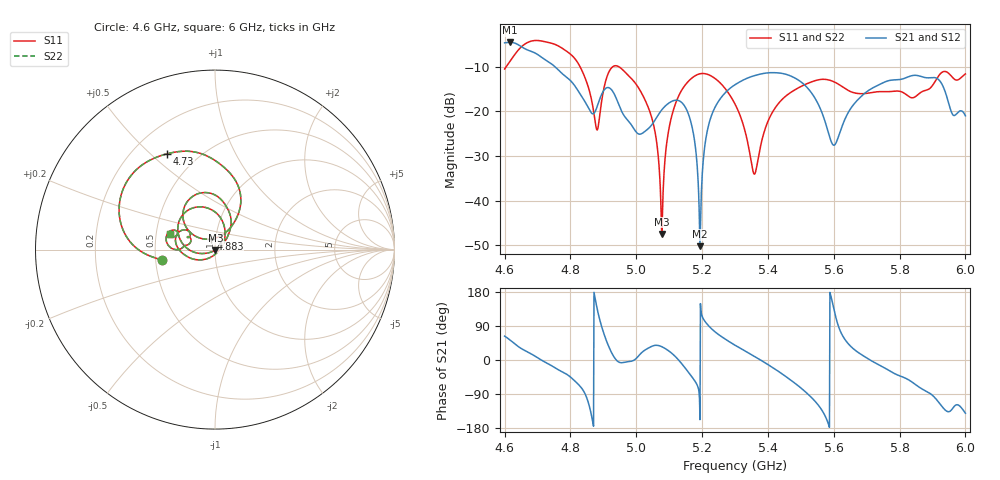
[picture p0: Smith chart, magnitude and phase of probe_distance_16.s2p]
! TOUCHSTONE file generated by CST MICROWAVE STUDIO
! Date and time: Sat Nov 30 13:11:00 2024
! Project name: test_tuning.cst
! Parameters = {airCoaxOuterDiameter=3; chamferAngle=45; chamferWidth=24; connectorLength=10; drillingHoleDiameter=4.1; feedLength=60; flareDiameter=130; flareLength=70; gratingDistance=0; gratingGap=1.90274; outletLength=30; polarizerLength=134; probe1Diameter=1.3; probe1Distance=15.5; probe1Length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
! Header version: 2024
! Port assignment regex: !\s*Touchstone port\s*([0-9]+)\s*=\s*(CST MWS port|CST DES external port|CST DES block port)\s*(.+)\s* \(\"(.*)\"\)(\s*mode\s*([0-9]+))?.*
! Touchstone port assignment:
! Touchstone port 1 = CST MWS port 1 ("Input1")
! Touchstone port 2 = CST MWS port 2 ("Input2")
# GHz S MA R 50
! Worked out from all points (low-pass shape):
!   1001 points, 4.6 GHz to 6 GHz, reference 50 ohm
!   highest |S21| = -4.51 dB at 4.617 GHz (marker M1); lowest = -50.2 dB at 5.194 GHz (marker M2)
!   |S21| within 3 dB of the highest: start of sweep to 4.706 GHz
!   lowest |S11| = -47.5 dB at 5.077 GHz (marker M3), VSWR 1.01, Z = 50.2 - j0.354 ohm
!   |S11| at or under -10 dB: start of sweep to 4.604646 GHz; 4.829 GHz to 4.928 GHz (98.78 MHz wide, 2.02 % of centre); 4.948 GHz to end of sweep
!   |S22| runs from -47.5 to -4.1 dB; largest |S21 - S12| = 7.3e-07
!   S11 on the Smith chart (normalised r, x): 4.6 GHz: 0.54, -0.07; 4.73 GHz: 0.34, +0.57; 4.883 GHz: 0.95, +0.11; 6 GHz: 0.59, +0.11
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4.6  0.2988 -168.6  0.5868 63.1  0.5868 63.1  0.2988 -168.6
4.6168  0.3663 -174.6  0.595 52.6  0.595 52.6  0.3663 -174.6
4.7302  0.5964 116.3  0.3652 -8.8  0.3652 -8.8  0.5964 116.3
4.8338  0.2934 60.8  0.148 -74.1  0.148 -74.1  0.2934 60.8
4.8828  0.06346 112.2  0.1181 128.9  0.1181 128.9  0.06346 112.3
4.9136  0.26 133.5  0.1853 41.4  0.1853 41.4  0.26 133.5
4.9486  0.3147 94.4  0.1151 -6.1  0.1151 -6.1  0.3147 94.4
5.034  0.1167 49.0  0.06289 30.2  0.06289 30.2  0.1167 49.0
5.0676  0.02925 25.6  0.0924 38.2  0.0924 38.2  0.02925 25.6
5.0774  0.004224 -56.5  0.1039 35.2  0.1039 35.2  0.004224 -56.5
5.1054  0.08189 -164.6  0.1283 19.5  0.1283 19.5  0.08189 -164.6
5.1558  0.2125 160.4  0.099 -29.2  0.099 -29.2  0.2125 160.4
5.1936  0.2642 132.8  0.003083 -157.3  0.003083 -157.3  0.2642 132.8
5.2244  0.2532 109.7  0.08087 86.1  0.08087 86.1  0.2532 109.7
5.3  0.121 62.7  0.1991 39.1  0.1991 39.1  0.121 62.7
5.3588  0.01978 -43.2  0.2516 9.6  0.2516 9.6  0.01978 -43.2
5.419  0.1052 -147.0  0.272 -22.6  0.272 -22.6  0.1052 -147.0
5.5338  0.2153 173.8  0.1587 -100.3  0.1587 -100.3  0.2153 173.8
5.601  0.2146 150.0  0.04179 132.6  0.04179 132.6  0.2146 150.0
5.7676  0.1667 156.0  0.2217 -27.6  0.2217 -27.6  0.1667 156.0
5.9118  0.2293 179.5  0.2363 -103.9  0.2363 -103.9  0.2293 179.5
6  0.2629 160.7  0.08932 -140.4  0.08932 -140.4  0.2629 160.7
